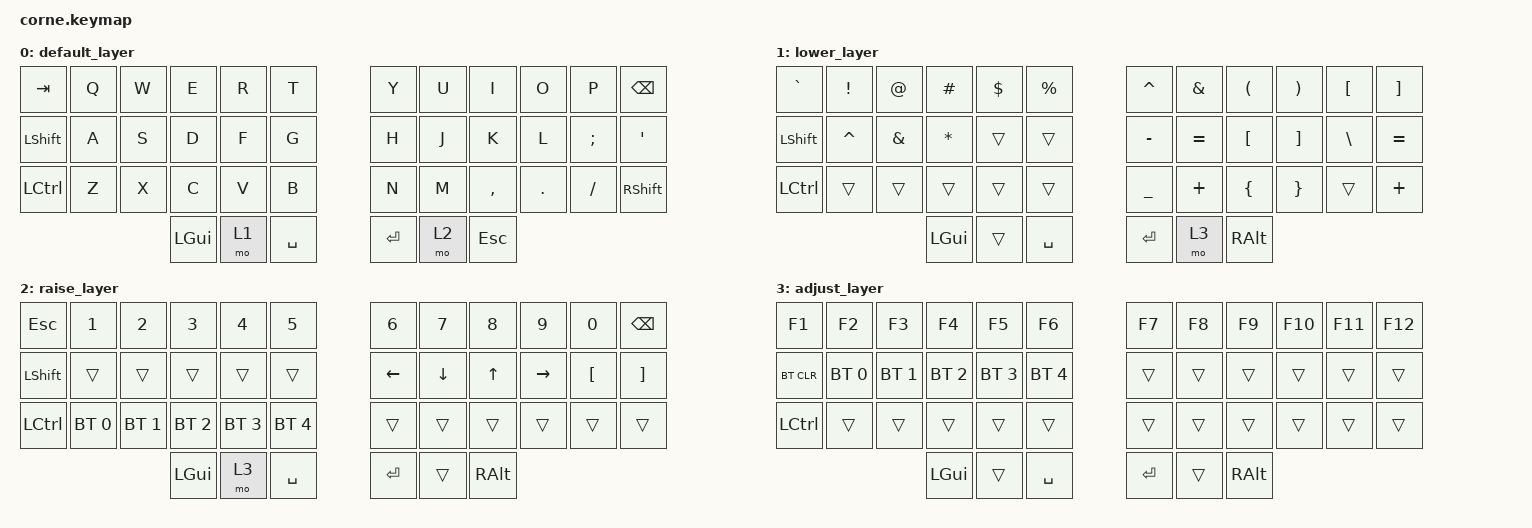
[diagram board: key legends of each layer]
/*
 * Copyright (c) 2020 The ZMK Contributors
 *
 * SPDX-License-Identifier: MIT
 */

#include <behaviors.dtsi>
#include <dt-bindings/zmk/keys.h>
#include <dt-bindings/zmk/bt.h>

/ {
        keymap {
                compatible = "zmk,keymap";

                default_layer {
// -----------------------------------------------------------------------------------------
// |  TAB |  Q  |  W  |  E  |  R  |  T  |   |  Y  |  U   |  I  |  O  |  P  | BSPC |
// | SHFT |  A  |  S  |  D  |  F  |  G  |   |  H  |  J   |  K  |  L  |  ;  |  '   |
// | CTRL |  Z  |  X  |  C  |  V  |  B  |   |  N  |  M   |  ,  |  .  |  /  | SHFT |
//                    | GUI | LWR | SPC |   | ENT | RSE  | ESC |
                        bindings = <
   &kp TAB   &kp Q &kp W &kp E &kp R &kp T   &kp Y &kp U  &kp I     &kp O   &kp P    &kp BSPC
   &kp LSHFT &kp A &kp S &kp D &kp F &kp G   &kp H &kp J  &kp K     &kp L   &kp SEMI &kp SQT
   &kp LCTRL &kp Z &kp X &kp C &kp V &kp B   &kp N &kp M  &kp COMMA &kp DOT &kp FSLH &kp RSHFT
                  &kp LGUI &mo 1 &kp SPACE   &kp RET &mo 2 &kp ESC
                        >;
                };
                lower_layer {
// -----------------------------------------------------------------------------------------
// |  `   |  !  |  @  |  #  |  $  |  %  |   |  ^  |  &  |  (  |  )  |  [  |   ]  |
// | SHFT |  ^  |  &  |  *  |     |     |   |  -  |  =  |  [  |  ]  |  \  |   =  |
// | CTRL |     |     |     |     |     |   |  _  |  +  |  {  |  }  |     |	  +  |
//                    | GUI |     | SPC |   | ENT |     | ALT |
                        bindings = <
   &kp GRAVE    &kp EXCL    &kp AT    &kp HASH &kp DLLR   &kp PRCNT     &kp CARET &kp AMPS  &kp LPAR &kp RPAR &kp LBKT &kp RBKT
   &kp LSHFT   &kp CARET   &kp AMPS  &kp ASTRK   &trans     &trans      &kp MINUS &kp EQUAL &kp LBKT &kp RBKT &kp BSLH  &kp	EQUAL
   &kp LCTRL   &trans      &trans    &trans   &trans     &trans         &kp UNDER &kp PLUS  &kp LBRC &kp RBRC &trans    &kp PLUS
                                     &kp LGUI &trans     &kp SPACE      &kp RET   &mo 3     &kp RALT
                        >;
                };

                raise_layer {
// -----------------------------------------------------------------------------------------
// | ESC  |  1  |  2  |  3  |  4  |  5  |   |  6  |  7  |  8  |  9  |  0  | BSPC |
// | SHFT |     |     |     |     |     |   | LFT | DWN |  UP | RGT |  [  |   ]  |
// | CTRL |     |     |     |     |     |   |     |     |     |     |     |      |
//                    | GUI |     | SPC |   | ENT |     | ALT |
                        bindings = <
   &kp ESC       &kp N1        &kp N2        &kp N3        &kp N4        &kp N5             &kp N6        &kp N7        &kp N8        &kp N9        &kp N0        &kp BSPC
   &kp LSHFT     &trans        &trans        &trans        &trans        &trans             &kp LEFT      &kp DOWN      &kp UP        &kp RIGHT     &kp LBKT      &kp RBKT
   &kp LCTRL     &bt BT_SEL 0  &bt BT_SEL 1  &bt BT_SEL 2  &bt BT_SEL 3  &bt BT_SEL 4       &trans        &trans        &trans        &trans        &trans        &trans
                                             &kp LGUI      &mo 3         &kp SPACE          &kp RET       &trans        &kp RALT
                        >;
                };

                adjust_layer {
// -----------------------------------------------------------------------------------------
// | F1   | F2  | F3  | F4  | F5  | F6  |   | F7  | F8  | F9  | F10 | F11 | F12 |
// | BTCLR| BT1 | BT2 | BT3 | BT4 | BT5 |   |     |     |     |     |     |     |
// | CTRL |     |     |     |     |     |   |	  |     |     |     |     |     |
//                    | GUI |     | SPC |   | ENT |     | ALT |
                        bindings = <
   &kp F1      &kp F2        &kp F3        &kp F4        &kp F5        &kp F6              &kp F7    &kp F8    &kp F9    &kp F10   &kp F11   &kp F12
   &bt BT_CLR  &bt BT_SEL 0  &bt BT_SEL 1  &bt BT_SEL 2  &bt BT_SEL 3  &bt BT_SEL 4        &trans    &trans    &trans    &trans    &trans    &trans
   &kp LCTRL   &trans        &trans        &trans        &trans        &trans              &trans    &trans    &trans    &trans    &trans    &trans
                                           &kp LGUI      &trans        &kp SPACE           &kp RET   &trans    &kp RALT
                        >;
                };
        };
};
